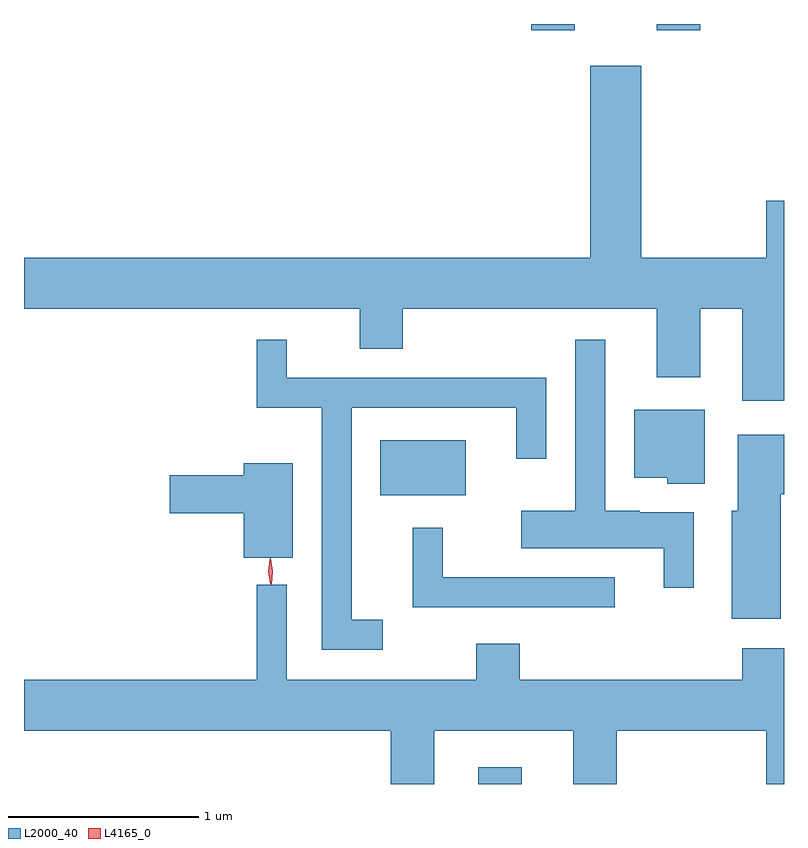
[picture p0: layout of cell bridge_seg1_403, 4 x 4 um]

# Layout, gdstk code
import gdstk
lib = gdstk.Library(unit=1e-6, precision=1e-09)
def R(c, l, rs):  # rectangles x0, y0, x1, y1
    for r in rs: c.add(gdstk.rectangle(r[:2], r[2:], *l))
def P(c, l, *ps):  # polygons
    for p in ps: c.add(gdstk.Polygon(p, *l))
L2000_40 = (2000, 40)
L4165_0 = (4165, 0)

bridge_seg1_403 = lib.new_cell('bridge_seg1_403')
R(bridge_seg1_403, L2000_40, [(373.401,950.355,373.629,950.444), (372.886,951.876,373.334,952.164), (373.681,954.321,373.909,954.355), (374.341,954.321,374.569,954.355)])
P(bridge_seg1_403, L2000_40, [(375.01,953.424),(374.916,953.424),(374.916,953.124),(374.259,953.124),(374.259,954.134),(373.991,954.134),(373.991,953.124),(371.01,953.124),(371.01,952.856),(372.776,952.856),(372.776,952.646),(373.004,952.646),(373.004,952.856),(374.341,952.856),(374.341,952.496),(374.569,952.496),(374.569,952.856),(374.791,952.856),(374.791,952.371),(375.01,952.371)],
  [(372.898,951.219),(372.734,951.219),(372.734,952.336),(373.601,952.336),(373.601,952.068),(373.759,952.068),(373.759,952.494),(372.394,952.494),(372.394,952.693),(372.236,952.693),(372.236,952.336),(372.576,952.336),(372.576,951.061),(372.898,951.061)],
  [(374.534,951.784),(374.25,951.784),(374.25,951.794),(374.069,951.794),(374.069,952.693),(373.911,952.693),(373.911,951.794),(373.626,951.794),(373.626,951.596),(374.376,951.596),(374.376,951.388),(374.534,951.388)],
  [(374.594,952.324),(374.221,952.324),(374.221,951.966),(374.396,951.966),(374.396,951.936),(374.594,951.936)],
  [(374.994,951.881),(375.01,951.881),(375.01,952.194),(374.766,952.194),(374.766,951.794),(374.736,951.794),(374.736,951.226),(374.994,951.226)],
  [(372.424,952.044),(372.166,952.044),(372.166,951.979),(371.776,951.979),(371.776,951.781),(372.166,951.781),(372.166,951.546),(372.424,951.546)],
  [(374.118,951.444),(373.214,951.444),(373.214,951.703),(373.056,951.703),(373.056,951.286),(374.118,951.286)],
  [(373.169,950.636),(373.901,950.636),(373.901,950.355),(374.129,950.355),(374.129,950.636),(374.916,950.636),(374.916,950.355),(375.01,950.355),(375.01,951.069),(374.791,951.069),(374.791,950.904),(373.619,950.904),(373.619,951.094),(373.391,951.094),(373.391,950.904),(372.394,950.904),(372.394,951.403),(372.236,951.403),(372.236,950.904),(371.01,950.904),(371.01,950.636),(372.941,950.636),(372.941,950.355),(373.169,950.355)])
P(bridge_seg1_403, L4165_0, [(372.307,951.408),(372.307,951.408),(372.296,951.474),(372.304,951.539),(372.305,951.539),(372.305,951.539),(372.316,951.474),(372.308,951.408)],
  [(372.313,951.405),(372.312,951.406),(372.3,951.473),(372.307,951.542),(372.307,951.542),(372.308,951.542),(372.32,951.474),(372.313,951.406)])

lib.write_gds('bridge_seg1_403.gds')
